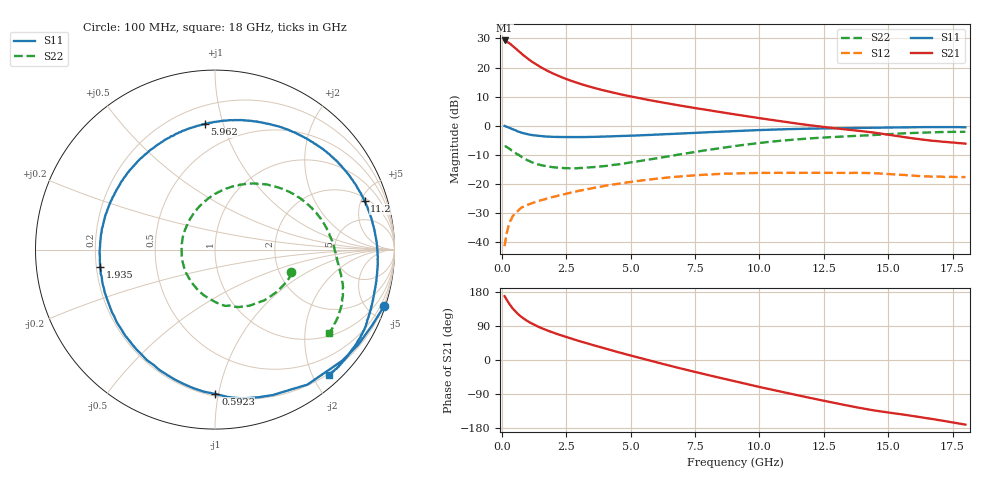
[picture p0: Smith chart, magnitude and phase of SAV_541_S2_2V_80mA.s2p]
! Data provided by Modelithics, Inc.  Tampa, Florida USA, June 2008
!Model SAV-541+
!VAR V_out= 2
!VAR I_out= 80
!VAR V_in= 0.5341
!VAR I_in= 1.0849
!BEGIN ACDATA
# GHZ S MA R 50
! Scattering Parameters
!% F n11x n11y n21x n21y n12x n12y n22x n22y
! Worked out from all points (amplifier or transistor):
!   401 points, 100 MHz to 18 GHz, reference 50 ohm
!   highest |S21| = 29.3 dB at 100 MHz (marker M1)
!   |S21| within 3 dB of that: start of sweep to 558.8 MHz
!   unconditionally stable (mu >= 1): 3.737 GHz to 11.06 GHz; 11.08956 GHz to 11.12377 GHz
!   at 3.054 GHz: K = 0.95, MSG = 18.3 dB, |S12| = -22.2 dB
!   at 9.05 GHz: K = 1.04, MAG = 8.9 dB, |S12| = -16.4 dB
!   at 18 GHz: K = 0.94, MSG = 5.7 dB, |S12| = -17.6 dB
!   lowest NFmin = 0.10 dB at 500 MHz
!   S11 on the Smith chart (normalised r, x): 100 MHz: 0.13, -6.15; 592.2 MHz: 0.21, -0.98; 1.935 GHz: 0.22, -0.07; 5.962 GHz: 0.32, +0.87; 11.2 GHz: 2.29, +5.35; 18 GHz: 0.18, -2.25
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0.1  0.9935 -18.5  29.19 168.4  0.00854 80.3  0.44 -16.4
0.1895  0.9581 -33.5  27.65 158.0  0.01473 72.4  0.4305 -27.3
0.279  0.92 -47.7  26.12 148.4  0.02097 67.7  0.404 -40.3
0.3685  0.8857 -61.9  24.45 140.0  0.02519 61.9  0.3779 -51.8
0.458  0.8576 -73.6  22.61 132.8  0.0294 56.2  0.3588 -61.3
0.59225  0.8044 -89.8  20 123.3  0.03358 50.0  0.3226 -75.3
0.68175  0.7812 -98.9  18.51 117.7  0.03687 47.5  0.3082 -83.6
0.816  0.7467 -111.2  16.46 110.5  0.04027 44.2  0.2803 -94.4
0.95025  0.7233 -121.7  14.78 104.4  0.04285 41.8  0.261 -104.3
1.12925  0.6959 -133.6  12.93 97.3  0.04621 39.2  0.2388 -115.6
1.48725  0.6643 -153.0  10.25 85.6  0.05226 36.1  0.2121 -134.8
1.93475  0.6468 -171.5  8.077 73.4  0.05921 32.3  0.1953 -154.7
2.47175  0.6392 171.1  6.405 61.0  0.06763 28.6  0.187 -174.4
3.09825  0.639 154.0  5.149 48.0  0.07797 23.6  0.1885 166.2
4.396  0.6587 124.6  3.633 22.9  0.09899 11.7  0.2138 133.4
5.96225  0.7012 94.8  2.635 -5.5  0.1226 -5.2  0.2741 101.9
6.0965  0.7073 92.5  2.573 -7.7  0.1247 -6.8  0.2804 99.8
9.05  0.8091 47.0  1.564 -56.3  0.1514 -41.9  0.448 54.7
11.198  0.8763 18.0  1.131 -89.0  0.1557 -67.5  0.5719 26.9
12.04825  0.8932 7.8  1.009 -101.1  0.1551 -77.3  0.6103 17.1
15.0465  0.9323 -23.1  0.6974 -138.9  0.1479 -107.3  0.7193 -12.0
18  0.9421 -47.7  0.4921 -170.5  0.1313 -131.6  0.7868 -36.0
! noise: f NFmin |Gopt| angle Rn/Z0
0.5  0.101  0.3189  33.43  0.052
0.7  0.141  0.3221  45.18  0.045
0.9  0.181  0.3257  56.68  0.04
1  0.201  0.3277  62.34  0.037
1.9  0.381  0.3495  110.4  0.025
2.4  0.482  0.3649  135  0.027
3  0.602  0.3866  162.4  0.037
3.9  0.782  0.4254  -160.8  0.069
5  1.003  0.4834  -122.6  0.135
6  1.203  0.546  -94.45  0.221
